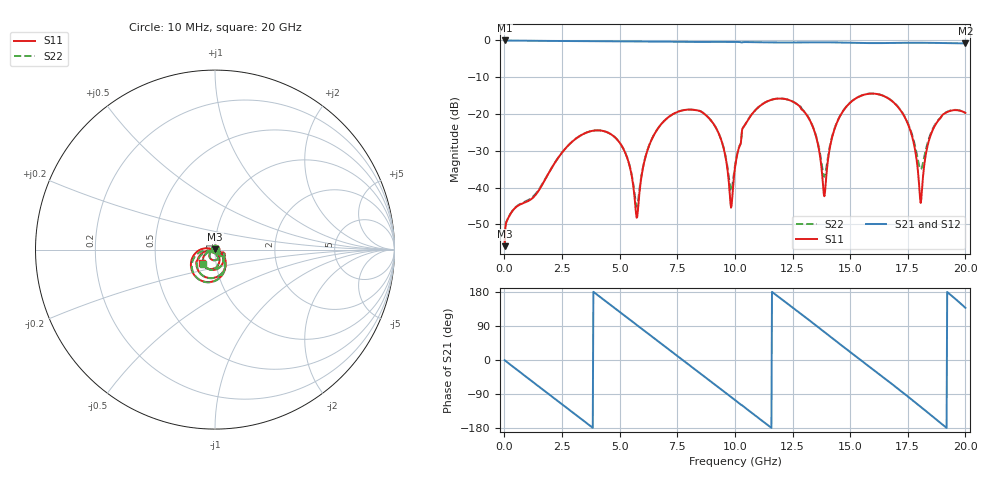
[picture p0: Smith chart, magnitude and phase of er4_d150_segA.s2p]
! Stitch-rule transferability - stripline, 2 mm stitch pitch, cut at x=20 mm
! Case: er4_d150_segA
! Sweep: 10 MHz - 20 GHz, 25 MHz step, 4 cores
# GHz S MA R 50.000000
! Terminal data exported
! Port[1] = U1.PAD1.SIG
! Port[2] = U2.PAD1.SIG
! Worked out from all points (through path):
!   801 points, 10 MHz to 20 GHz, reference 50 ohm
!   highest |S21| = -0.01 dB at 10 MHz (marker M1); lowest = -0.8 dB at 20 GHz (marker M2)
!   group delay of S21, straight-line fit = 130 ps
!   lowest |S11| = -55.9 dB at 10 MHz (marker M3), VSWR 1.00, Z = 50.1 + j0.0645 ohm
!   |S11| at or under -10 dB: start of sweep to end of sweep
!   |S22| runs from -55.9 to -14.4 dB; largest |S21 - S12| = 0
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0.01  0.001596 23.8  0.9985 -0.5  0.9985 -0.5  0.001596 23.8
1.76  0.01272 -19.5  0.9848 -82.4  0.9848 -82.4  0.01293 -21.3
3.36  0.05215 -68.8  0.9765 -156.9  0.9765 -156.9  0.05218 -69.1
4.96  0.04236 -137.4  0.9706 128.9  0.9706 128.9  0.04248 -135.9
5.735  0.0039 -98.6  0.9686 92.8  0.9686 92.8  0.005495 -95.3
6.685  0.06509 -44.4  0.9632 48.6  0.9632 48.6  0.06522 -45.6
8.16  0.1142 -109.0  0.9531 -19.7  0.9531 -19.7  0.1143 -108.5
9.285  0.05549 -157.3  0.9552 -71.8  0.9552 -71.8  0.05589 -153.9
9.81  0.006061 -125.4  0.9549 -96.5  0.9549 -96.5  0.009395 -114.6
10.01  0.01911 -31.9  0.9539 -105.9  0.9539 -105.9  0.02044 -41.7
10.41  0.06898 -38.0  0.9495 -124.3  0.9495 -124.3  0.06917 -40.1
11.66  0.1582 -93.3  0.9374 177.5  0.9374 177.5  0.1584 -92.9
13.36  0.06941 -166.2  0.9419 98.7  0.9419 98.7  0.07031 -161.1
13.885  0.007612 -100.5  0.9426 73.8  0.9426 73.8  0.01399 -102.6
14.235  0.05046 -41.8  0.9404 57.2  0.9404 57.2  0.05188 -47.9
14.76  0.1172 -61.2  0.9335 32.4  0.9335 32.4  0.1179 -62.8
15.685  0.1852 -102.0  0.9208 -10.8  0.9208 -10.8  0.186 -100.9
16.685  0.1605 -146.8  0.9221 -57.3  0.9221 -57.3  0.1614 -143.0
17.585  0.06293 174.4  0.9295 -100.3  0.9295 -100.3  0.06519 -173.9
18.06  0.006175 -125.7  0.9298 -123.5  0.9298 -123.5  0.01771 -122.3
18.71  0.07237 -70.4  0.9247 -155.6  0.9247 -155.6  0.07408 -74.7
20  0.1035 -133.5  0.9108 137.6  0.9108 137.6  0.103 -129.8
